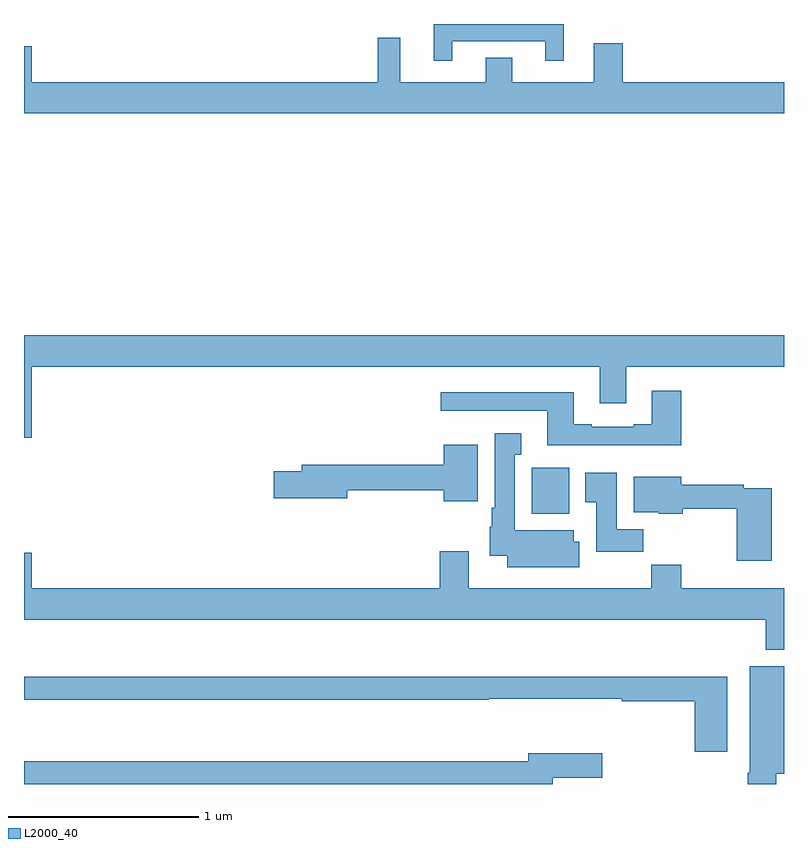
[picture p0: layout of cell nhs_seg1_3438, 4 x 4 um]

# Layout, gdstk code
import gdstk
lib = gdstk.Library(unit=1e-6, precision=1e-09)
def R(c, l, rs):  # rectangles x0, y0, x1, y1
    for r in rs: c.add(gdstk.rectangle(r[:2], r[2:], *l))
def P(c, l, *ps):  # polygons
    for p in ps: c.add(gdstk.Polygon(p, *l))
L2000_40 = (2000, 40)

nhs_seg1_3438 = lib.new_cell('nhs_seg1_3438')
R(nhs_seg1_3438, L2000_40, [(299.672,553.622,299.869,553.864)])
P(nhs_seg1_3438, L2000_40, [(299.254,556.107),(299.744,556.107),(299.744,556.005),(299.842,556.005),(299.842,556.199),(299.157,556.199),(299.157,556.005),(299.254,556.005)],
  [(301,555.892),(300.152,555.892),(300.152,556.099),(299.999,556.099),(299.999,555.892),(299.569,555.892),(299.569,556.022),(299.429,556.022),(299.429,555.892),(298.979,555.892),(298.979,556.126),(298.861,556.126),(298.861,555.892),(297.04,555.892),(297.04,556.081),(297,556.081),(297,555.728),(301,555.728)],
  [(297.04,554.396),(300.029,554.396),(300.029,554.202),(300.169,554.202),(300.169,554.396),(301,554.396),(301,554.56),(297,554.56),(297,554.022),(297.04,554.022)],
  [(300.458,554.269),(300.305,554.269),(300.305,554.092),(300.209,554.092),(300.209,554.079),(299.989,554.079),(299.989,554.092),(299.893,554.092),(299.893,554.26),(299.193,554.26),(299.193,554.163),(299.753,554.163),(299.753,553.982),(300.458,553.982)],
  [(299.923,553.475),(299.893,553.475),(299.893,553.534),(299.584,553.534),(299.584,553.931),(299.617,553.931),(299.617,554.044),(299.477,554.044),(299.477,553.654),(299.462,553.654),(299.462,553.554),(299.45,553.554),(299.45,553.4),(299.543,553.4),(299.543,553.34),(299.923,553.34)],
  [(299.389,553.984),(299.21,553.984),(299.21,553.88),(298.463,553.88),(298.463,553.844),(298.314,553.844),(298.314,553.702),(298.702,553.702),(298.702,553.744),(299.21,553.744),(299.21,553.688),(299.389,553.688)],
  [(300.26,553.54),(300.121,553.54),(300.121,553.837),(299.954,553.837),(299.954,553.681),(300.011,553.681),(300.011,553.422),(300.26,553.422)],
  [(300.935,553.755),(300.788,553.755),(300.788,553.775),(300.46,553.775),(300.46,553.816),(300.209,553.816),(300.209,553.628),(300.342,553.628),(300.342,553.622),(300.468,553.622),(300.468,553.647),(300.752,553.647),(300.752,553.374),(300.935,553.374)],
  [(301,553.228),(300.458,553.228),(300.458,553.352),(300.301,553.352),(300.301,553.228),(299.341,553.228),(299.341,553.423),(299.189,553.423),(299.189,553.228),(297.04,553.228),(297.04,553.417),(297,553.417),(297,553.064),(300.905,553.064),(300.905,552.905),(301,552.905)],
  [(300.958,552.254),(301,552.254),(301,552.82),(300.821,552.82),(300.821,552.258),(300.809,552.258),(300.809,552.199),(300.958,552.199)],
  [(300.7,552.763),(297,552.763),(297,552.642),(299.446,552.642),(299.446,552.649),(300.146,552.649),(300.146,552.634),(300.53,552.634),(300.53,552.369),(300.7,552.369)],
  [(299.782,552.232),(300.043,552.232),(300.043,552.361),(299.654,552.361),(299.654,552.319),(297,552.319),(297,552.199),(299.782,552.199)])

lib.write_gds('nhs_seg1_3438.gds')
